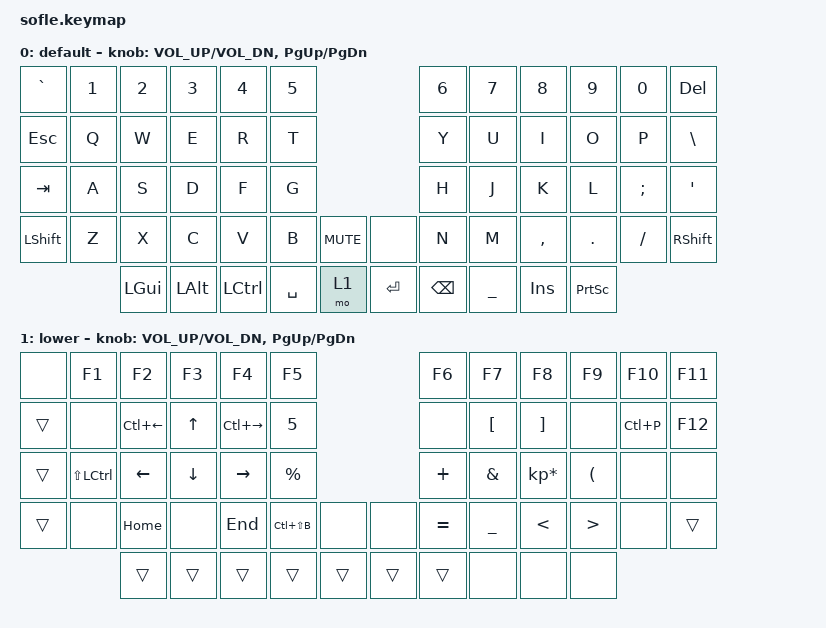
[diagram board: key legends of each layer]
/*
 * Copyright (c) 2020 The ZMK Contributors
 *
 * SPDX-License-Identifier: MIT
 */

#include <behaviors.dtsi>
#include <dt-bindings/zmk/keys.h>

#define BASE 0
#define LOWER 1
#define RAISE 2
#define ADJUST 3

/ {
    // Activate ADJUST layer by pressing raise and lower

    conditional_layers {
        compatible = "zmk,conditional-layers";

        adjust_layer {
            if-layers = <1 2>;
            then-layer = <2>;
        };
    };

    keymap {
        compatible = "zmk,keymap";

        default_layer {
            label = "default";

            // ------------------------------------------------------------------------------------------------------------
            // |   `   |  1  |  2  |  3   |  4   |  5   |                   |  6   |  7    |  8    |  9   |   0   |       |
            // |  ESC  |  Q  |  W  |  E   |  R   |  T   |                   |  Y   |  U    |  I    |  O   |   P   | BKSPC |
            // |  TAB  |  A  |  S  |  D   |  F   |  G   |                   |  H   |  J    |  K    |  L   |   ;   |   '   |
            // | SHIFT |  Z  |  X  |  C   |  V   |  B   |  MUTE  |  |       |  N   |  M    |  ,    |  .   |   /   | SHIFT |
            //               | GUI | ALT  | CTRL | LOWER|  ENTER |  | SPACE | RAISE| CTRL  | ALT   | GUI  |

            bindings = <
&kp GRAVE  &kp N1  &kp N2    &kp N3    &kp N4     &kp N5                              &kp N6         &kp N7          &kp N8      &kp N9           &kp N0    &kp DEL
&kp ESC    &kp Q   &kp W     &kp E     &kp R      &kp T                               &kp Y          &kp U           &kp I       &kp O            &kp P     &kp BACKSLASH
&kp TAB    &kp A   &kp S     &kp D     &kp F      &kp G                               &kp H          &kp J           &kp K       &kp L            &kp SEMI  &kp SQT
&kp LSHFT  &kp Z   &kp X     &kp C     &kp V      &kp B      &kp C_MUTE    &none      &kp N          &kp M           &kp COMMA   &kp DOT          &kp FSLH  &kp RSHFT
                   &kp LGUI  &kp LALT  &kp LCTRL  &kp SPACE  &mo 1         &kp ENTER  &kp BACKSPACE  &kp UNDERSCORE  &kp INSERT  &kp PRINTSCREEN
            >;

            sensor-bindings = <&inc_dec_kp C_VOL_UP C_VOL_DN &inc_dec_kp PG_UP PG_DN>;
        };

        lower_layer {
            label = "lower";

            // TODO: Some binds are waiting for shifted keycode support.
            // ------------------------------------------------------------------------------------------------------------
            // |       |  F1 |  F2 |  F3  |  F4  |  F5  |                   |  F6  |  F7   |  F8   |  F9  |  F10  |  F11  |
            // |   `   |  1  |  2  |  3   |  4   |  5   |                   |  6   |  7    |  8    |  9   |   0   |  F12  |
            // |       |  !  |  @  |  #   |  $   |  %   |                   |  ^   |  &    |  *    |  (   |   )   |   |   |
            // |       |  =  |  -  |  +   |  {   |  }   |        |  |       |  [   |  ]    |  ;    |  :   |   \   |       |
            //               |     |      |      |      |        |  |       |      |       |       |      |

            bindings = <
&none   &kp F1                &kp F2              &kp F3          &kp F4               &kp F5                           &kp F6     &kp F7            &kp F8             &kp F9    &kp F10    &kp F11
&trans  &none                 &kp LC(LEFT_ARROW)  &kp UP_ARROW    &kp LC(RIGHT_ARROW)  &kp N5                           &none      &kp LEFT_BRACKET  &kp RIGHT_BRACKET  &none     &kp LC(P)  &kp F12
&trans  &kp LS(LEFT_CONTROL)  &kp LEFT_ARROW      &kp DOWN_ARROW  &kp RIGHT_ARROW      &kp PRCNT                        &kp PLUS   &kp AMPS          &kp KP_MULTIPLY    &kp LPAR  &none      &none
&trans  &none                 &kp HOME            &none           &kp END              &kp LC(LS(B))  &none     &none   &kp EQUAL  &kp UNDERSCORE    &kp LT             &kp GT    &none      &trans
                              &trans              &trans          &trans               &trans         &trans    &trans  &trans     &none             &none              &none
            >;

            sensor-bindings = <&inc_dec_kp C_VOL_UP C_VOL_DN &inc_dec_kp PG_UP PG_DN>;
        };
    };
};
